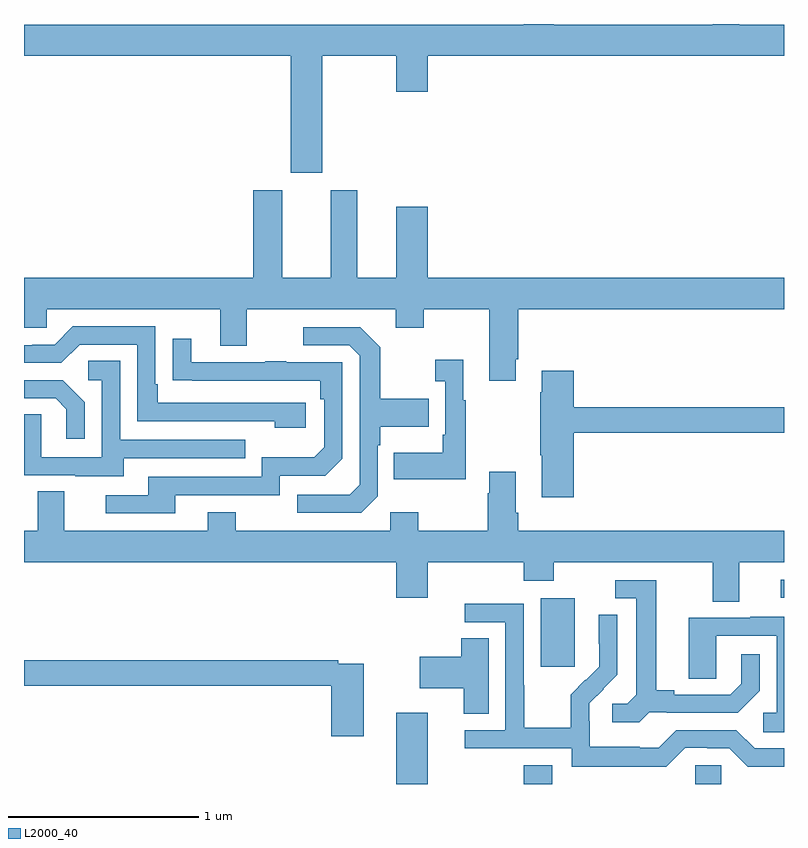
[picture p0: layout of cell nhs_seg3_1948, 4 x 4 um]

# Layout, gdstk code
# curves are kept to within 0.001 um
import gdstk
lib = gdstk.Library(unit=1e-6, precision=1e-09)
def R(c, l, rs):  # rectangles x0, y0, x1, y1
    for r in rs: c.add(gdstk.rectangle(r[:2], r[2:], *l))
def P(c, l, *ps):  # polygons
    for p in ps: c.add(gdstk.Polygon(p, *l))
L2000_40 = (2000, 40)

nhs_seg3_1948 = lib.new_cell('nhs_seg3_1948')
R(nhs_seg3_1948, L2000_40, [(212.96,714.4,213.124,714.775), (213.629,714.4,213.781,714.499), (214.533,714.4,214.671,714.498), (213.719,715.017,213.898,715.378), (214.983,715.38,215,715.476)])
P(nhs_seg3_1948, L2000_40, [(212.569,718.232),(212.96,718.232),(212.96,718.044),(213.124,718.044),(213.124,718.232),(215,718.232),(215,718.396),(214.765,718.396),(214.765,718.4),(214.625,718.4),(214.625,718.396),(213.789,718.396),(213.789,718.4),(213.629,718.4),(213.629,718.396),(211,718.396),(211,718.232),(212.405,718.232),(212.405,717.618),(212.569,717.618)],
  [(213.589,716.635),(213.602,716.635),(213.602,716.9),(215,716.9),(215,717.064),(213.124,717.064),(213.124,717.439),(212.96,717.439),(212.96,717.064),(212.755,717.064),(212.755,717.526),(212.615,717.526),(212.615,717.064),(212.359,717.064),(212.359,717.526),(212.207,717.526),(212.207,717.064),(211,717.064),(211,716.802),(211.119,716.802),(211.119,716.9),(212.033,716.9),(212.033,716.706),(212.173,716.706),(212.173,716.9),(212.957,716.9),(212.957,716.801),(213.105,716.801),(213.105,716.9),(213.449,716.9),(213.449,716.523),(213.589,716.523)],
  [(212.482,716.406),(211.705,716.406),(211.705,716.503),(211.692,716.503),(211.692,716.808),(211.257,716.808),(211.161,716.712),(211.043,716.712),(211.043,716.709),(211,716.709),(211,716.616),(211.197,716.616),(211.293,716.712),(211.596,716.712),(211.596,716.31),(212.321,716.31),(212.321,716.276),(212.482,716.276)],
  [(212.862,715.914),(212.862,716.183),(212.875,716.183),(212.875,716.279),(213.131,716.279),(213.131,716.427),(212.875,716.427),(212.875,716.699),(212.769,716.805),(212.469,716.805),(212.469,716.709),(212.712,716.709),(212.766,716.655),(212.766,715.974),(212.715,715.923),(212.439,715.923),(212.439,715.827),(212.775,715.827)],
  [(211.795,715.92),(212.346,715.92),(212.346,716.022),(212.586,716.022),(212.676,716.112),(212.676,716.619),(212.381,716.619),(212.381,716.624),(212.269,716.624),(212.269,716.619),(211.879,716.619),(211.879,716.743),(211.783,716.743),(211.783,716.524),(212.56,716.523),(212.56,716.426),(212.58,716.426),(212.58,716.172),(212.527,716.119),(212.25,716.119),(212.25,716.016),(211.655,716.016),(211.655,715.92),(211.431,715.92),(211.431,715.824),(211.795,715.824)],
  [(213.325,716.419),(213.313,716.419),(213.313,716.632),(213.165,716.632),(213.165,716.519),(213.216,716.519),(213.216,716.239),(213.204,716.239),(213.204,716.143),(212.947,716.143),(212.947,716.003),(213.325,716.003)],
  [(211.525,716.115),(212.165,716.115),(212.165,716.211),(211.506,716.211),(211.506,716.627),(211.338,716.627),(211.338,716.526),(211.41,716.526),(211.41,716.121),(211.092,716.121),(211.092,716.345),(211,716.345),(211,716.025),(211.271,716.025),(211.271,716.021),(211.525,716.021)],
  [(213.893,716.248),(215,716.248),(215,716.384),(213.893,716.384),(213.893,716.575),(213.725,716.575),(213.725,716.462),(213.718,716.462),(213.718,716.131),(213.725,716.131),(213.725,715.908),(213.893,715.908)],
  [(211.32,716.41),(211.204,716.526),(211,716.526),(211,716.43),(211.166,716.43),(211.223,716.373),(211.223,716.217),(211.32,716.217)],
  [(214.765,715.568),(215,715.568),(215,715.732),(213.602,715.732),(213.602,715.828),(213.589,715.828),(213.589,716.044),(213.449,716.044),(213.449,715.931),(213.442,715.931),(213.442,715.732),(213.075,715.732),(213.075,715.831),(212.928,715.831),(212.928,715.732),(212.115,715.732),(212.115,715.831),(211.967,715.831),(211.967,715.732),(211.213,715.732),(211.213,715.94),(211.073,715.94),(211.073,715.732),(211,715.732),(211,715.568),(212.96,715.568),(212.96,715.38),(213.124,715.38),(213.124,715.568),(213.629,715.568),(213.629,715.469),(213.789,715.469),(213.789,715.568),(214.625,715.568),(214.625,715.36),(214.765,715.36)],
  [(214.29,714.777),(214.384,714.777),(214.384,714.774),(214.756,714.774),(214.872,714.89),(214.872,715.084),(214.775,715.084),(214.775,714.927),(214.718,714.87),(214.423,714.87),(214.423,714.893),(214.327,714.893),(214.327,715.473),(214.113,715.473),(214.113,715.377),(214.223,715.377),(214.223,714.869),(214.176,714.822),(214.095,714.822),(214.095,714.725),(214.238,714.725)],
  [(214.479,714.591),(214.595,714.591),(214.595,714.588),(214.713,714.588),(214.809,714.492),(215,714.492),(215,714.588),(214.845,714.588),(214.749,714.684),(214.434,714.684),(214.341,714.591),(214.241,714.591),(214.241,714.595),(213.978,714.595),(213.978,714.729),(213.976,714.729),(213.976,714.826),(214.122,714.974),(214.122,715.292),(214.026,715.292),(214.026,715.138),(214.028,715.138),(214.028,715.016),(213.957,714.945),(213.954,714.948),(213.877,714.871),(213.877,714.697),(213.633,714.697),(213.633,714.92),(213.63,714.92),(213.63,715.35),(213.321,715.35),(213.321,715.251),(213.534,715.251),(213.534,714.684),(213.321,714.684),(213.321,714.588),(213.882,714.588),(213.882,714.491),(214.379,714.491)],
  [(215,715.279),(214.823,715.279),(214.823,715.275),(214.499,715.275),(214.499,714.955),(214.644,714.955),(214.644,715.179),(214.962,715.179),(214.962,714.774),(214.89,714.774),(214.89,714.673),(215,714.673)],
  [(213.445,715.166),(213.302,715.166),(213.302,715.071),(213.084,715.071),(213.084,714.905),(213.314,714.905),(213.314,714.769),(213.445,714.769)],
  [(212.788,715.032),(212.654,715.032),(212.654,715.052),(211,715.052),(211,714.916),(212.618,714.916),(212.618,714.651),(212.788,714.651)])

lib.write_gds('nhs_seg3_1948.gds')
